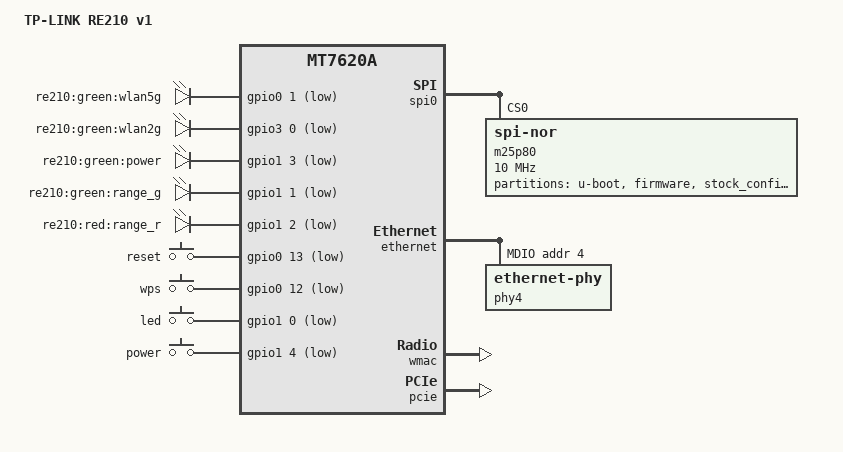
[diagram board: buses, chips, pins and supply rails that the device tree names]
/dts-v1/;

#include "mt7620a.dtsi"
#include <dt-bindings/input/input.h>
#include <dt-bindings/gpio/gpio.h>

/ {
	compatible = "ralink,mt7620a-soc";
	model = "TP-LINK RE210 v1";

	gpio-leds {
		compatible = "gpio-leds";

		wlan5g {
			label = "re210:green:wlan5g";
			gpios = <&gpio0 1 GPIO_ACTIVE_LOW>;
		};

		wlan2g {
			label = "re210:green:wlan2g";
			gpios = <&gpio3 0 GPIO_ACTIVE_LOW>;
		};

		power {
			label = "re210:green:power";
			gpios = <&gpio1 3 GPIO_ACTIVE_LOW>;
			default-state = "on";
		};

		range_g {
			label = "re210:green:range_g";
			gpios = <&gpio1 1 GPIO_ACTIVE_LOW>;
		};

		range_r {
			label = "re210:red:range_r";
			gpios = <&gpio1 2 GPIO_ACTIVE_LOW>;
		};
	};

	gpio-keys {
		compatible = "gpio-keys";
		#address-cells = <1>;
		#size-cells = <0>;

		reset {
			label = "reset";
			gpios = <&gpio0 13 GPIO_ACTIVE_LOW>;
			linux,code = <KEY_RESTART>;
		};

		wps {
			label = "wps";
			gpios = <&gpio0 12 GPIO_ACTIVE_LOW>;
			linux,code = <KEY_WPS_BUTTON>;
		};

		led {
			label = "led";
			gpios = <&gpio1 0 GPIO_ACTIVE_LOW>;
			linux,code = <BTN_0>;
		};

		power {
			label = "power";
			gpios = <&gpio1 4 GPIO_ACTIVE_LOW>;
			linux,code = <KEY_POWER>;
		};
	};
};

&gpio1 {
	status = "okay";
};

&gpio2 {
	status = "okay";
};

&gpio3 {
	status = "okay";
};

&spi0 {
	status = "okay";

	m25p80@0 {
		#address-cells = <1>;
		#size-cells = <1>;
		compatible = "jedec,spi-nor";
		reg = <0>;
		spi-max-frequency = <10000000>;

		partition@0 {
			label = "u-boot";
			reg = <0x0 0x20000>;
			read-only;
		};

		partition@20000 {
			label = "firmware";
			reg = <0x20000 0x7e0000>;
		};

		config: partition@7e0000 {
			label = "stock_config";
			reg = <0x7e0000 0x10000>;
			read-only;
		};

		art: partition@7f0000 {
			label = "art";
			reg = <0x7f0000 0x10000>;
			read-only;
		};
	};
};

&pinctrl {
	state_default: pinctrl0 {
		gpio {
			ralink,group = "i2c", "uartf", "rgmii1", "wled";
			ralink,function = "gpio";
		};

		pa {
			ralink,group = "pa";
			ralink,function = "pa";
		};
	};
};

&ethernet {
	mtd-mac-address = <&config 0x158>;
	pinctrl-names = "default";
	pinctrl-0 = <&rgmii2_pins &mdio_pins>;

	port@4 {
		status = "okay";
		phy-handle = <&phy4>;
		phy-mode = "rgmii";
	};

	mdio-bus {
		status = "okay";

		phy4: ethernet-phy@4 {
			reg = <4>;
			phy-mode = "rgmii";
			/*max-speed = <100>;*/
		};
	};
};

&gsw {
	mediatek,port4 = "gmac";
};

&wmac {
	ralink,mtd-eeprom = <&art 0>;
	mtd-mac-address = <&config 0x158>;
};


&pcie {
	status = "okay";

	pcie-bridge {
		mt76@0,0 {
			reg = <0x0000 0 0 0 0>;
			device_type = "pci";
			mediatek,mtd-eeprom = <&art 0x8000>;
			mtd-mac-address = <&config 0x158>;
			mtd-mac-address-increment = <2>;
		};
	};
};
